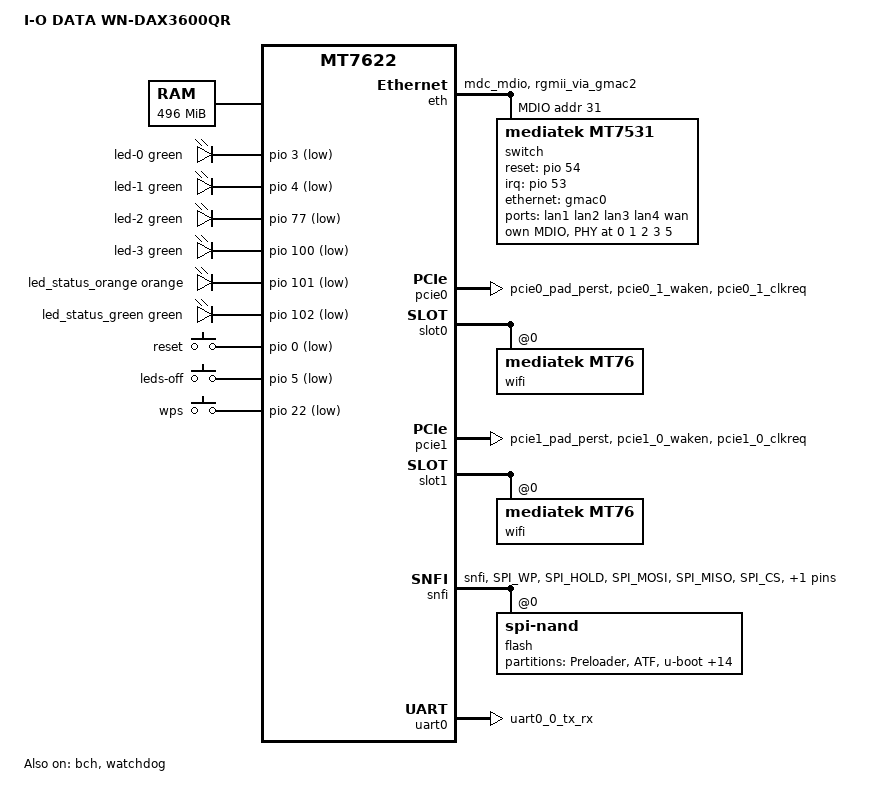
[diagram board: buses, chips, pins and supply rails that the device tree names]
// SPDX-License-Identifier: GPL-2.0-or-later OR MIT
/dts-v1/;

#include <dt-bindings/input/input.h>
#include <dt-bindings/gpio/gpio.h>
#include <dt-bindings/leds/common.h>
#include <dt-bindings/pinctrl/mt65xx.h>

#include "mt7622.dtsi"
#include "mt6380.dtsi"

/ {
	model = "I-O DATA WN-DAX3600QR";
	compatible = "iodata,wn-dax3600qr", "mediatek,mt7622";

	aliases {
		serial0 = &uart0;
		led-boot = &led_status_green;
		led-failsafe = &led_status_orange;
		led-upgrade = &led_status_green;
		label-mac-device = &wan;
	};

	chosen {
		bootargs-override = "earlycon swiotlb=512";
		stdout-path = "serial0:115200n8";
	};

	memory@40000000 {
		reg = <0 0x40000000 0 0x1f000000>;
		device_type = "memory";
	};

	leds {
		compatible = "gpio-leds";

		led-0 {
			gpios = <&pio 3 GPIO_ACTIVE_LOW>;
			color = <LED_COLOR_ID_GREEN>;
			function = LED_FUNCTION_POWER;
			default-state = "on";
		};

		led-1 {
			gpios = <&pio 4 GPIO_ACTIVE_LOW>;
			color = <LED_COLOR_ID_GREEN>;
			function = LED_FUNCTION_WLAN;
		};

		led-2 {
			gpios = <&pio 77 GPIO_ACTIVE_LOW>;
			color = <LED_COLOR_ID_GREEN>;
			function = LED_FUNCTION_WAN_ONLINE;
		};

		led-3 {
			gpios = <&pio 100 GPIO_ACTIVE_LOW>;
			color = <LED_COLOR_ID_GREEN>;
			function = LED_FUNCTION_INDICATOR;
		};

		led_status_orange: led-4 {
			gpios = <&pio 101 GPIO_ACTIVE_LOW>;
			color = <LED_COLOR_ID_ORANGE>;
			function = LED_FUNCTION_STATUS;
		};

		led_status_green: led-5 {
			gpios = <&pio 102 GPIO_ACTIVE_LOW>;
			color = <LED_COLOR_ID_GREEN>;
			function = LED_FUNCTION_STATUS;
		};
	};

	keys {
		compatible = "gpio-keys";

		button-reset {
			label = "reset";
			gpios = <&pio 0 GPIO_ACTIVE_LOW>;
			linux,code = <KEY_RESTART>;
		};

		button-leds-off {
			label = "leds-off";
			gpios = <&pio 5 GPIO_ACTIVE_LOW>;
			linux,code = <BTN_0>;
			linux,input-type = <EV_SW>;
		};

		button-wps {
			label = "wps";
			gpios = <&pio 22 GPIO_ACTIVE_LOW>;
			linux,code = <KEY_WPS_BUTTON>;
		};
	};
};

&cpu0 {
	proc-supply = <&mt6380_vcpu_reg>;
	sram-supply = <&mt6380_vm_reg>;
};

&cpu1 {
	proc-supply = <&mt6380_vcpu_reg>;
	sram-supply = <&mt6380_vm_reg>;
};

&eth {
	pinctrl-names = "default";
	pinctrl-0 = <&eth_pins>;
	status = "okay";

	gmac0: mac@0 {
		compatible = "mediatek,eth-mac";
		reg = <0>;

		phy-connection-type = "2500base-x";

		nvmem-cells = <&macaddr_factory_2a>;
		nvmem-cell-names = "mac-address";

		fixed-link {
			speed = <2500>;
			full-duplex;
			pause;
		};
	};

	mdio-bus {
		#address-cells = <1>;
		#size-cells = <0>;

		switch@1f {
			compatible = "mediatek,mt7531";
			reg = <31>;
			interrupt-controller;
			#interrupt-cells = <1>;
			interrupt-parent = <&pio>;
			interrupts = <53 IRQ_TYPE_LEVEL_HIGH>;
			reset-gpios = <&pio 54 GPIO_ACTIVE_HIGH>;

			ethernet-ports {
				#address-cells = <1>;
				#size-cells = <0>;

				port@0 {
					reg = <0>;
					label = "lan1";
					phy-handle = <&swphy0>;
				};

				port@1 {
					reg = <1>;
					label = "lan2";
					phy-handle = <&swphy1>;
				};

				port@2 {
					reg = <2>;
					label = "lan3";
					phy-handle = <&swphy2>;
				};

				port@3 {
					reg = <3>;
					label = "lan4";
					phy-handle = <&swphy3>;
				};

				wan: port@5 {
					reg = <5>;
					label = "wan";
					nvmem-cells = <&macaddr_factory_24>;
					nvmem-cell-names = "mac-address";
					phy-connection-type = "2500base-x";
					phy-handle = <&rtl8221b_phy>;
				};

				port@6 {
					reg = <6>;
					ethernet = <&gmac0>;
					phy-mode = "2500base-x";

					fixed-link {
						speed = <2500>;
						full-duplex;
						pause;
					};
				};
			};

			mdio {
				#address-cells = <1>;
				#size-cells = <0>;

				swphy0: ethernet-phy@0 {
					reg = <0>;
				};

				swphy1: ethernet-phy@1 {
					reg = <1>;
				};

				swphy2: ethernet-phy@2 {
					reg = <2>;
				};

				swphy3: ethernet-phy@3 {
					reg = <3>;
				};

				rtl8221b_phy: ethernet-phy@5 {
					compatible = "ethernet-phy-ieee802.3-c45";
					reg = <5>;
					reset-assert-us = <100000>;
					reset-deassert-us = <100000>;
				};
			};
		};
	};
};

&pcie0 {
	pinctrl-names = "default";
	pinctrl-0 = <&pcie0_pins>;
	status = "okay";
};

&slot0 {
	status = "okay";

	wifi@0,0 {
		compatible = "mediatek,mt76";
		reg = <0x0000 0 0 0 0>;
		ieee80211-freq-limit = <2400000 2500000>;
		nvmem-cells = <&eeprom_factory_0>;
		nvmem-cell-names = "eeprom";
	};
};

&pcie1 {
	pinctrl-0 = <&pcie1_pins>;
	pinctrl-names = "default";
	status = "okay";
};

&slot1 {
	status = "okay";

	wifi@0,0 {
		compatible = "mediatek,mt76";
		reg = <0x0000 0 0 0 0>;
		ieee80211-freq-limit = <5000000 6000000>;
		nvmem-cells = <&eeprom_factory_20000>;
		nvmem-cell-names = "eeprom";
	};
};

&pio {
	eth_pins: eth-pins {
		mux {
			function = "eth";
			groups = "mdc_mdio", "rgmii_via_gmac2";
		};
	};

	pcie0_pins: pcie0-pins {
		mux {
			function = "pcie";
			groups = "pcie0_pad_perst",
				 "pcie0_1_waken",
				 "pcie0_1_clkreq";
		};
	};

	pcie1_pins: pcie1-pins {
		mux {
			function = "pcie";
			groups = "pcie1_pad_perst",
				 "pcie1_0_waken",
				 "pcie1_0_clkreq";
		};
	};

	pmic_bus_pins: pmic-bus-pins {
		mux {
			function = "pmic";
			groups = "pmic_bus";
		};
	};

	/* Serial NAND is shared pin with SPI-NOR */
	serial_nand_pins: serial-nand-pins {
		mux {
			function = "flash";
			groups = "snfi";
		};

		conf-cmd-data {
			pins = "SPI_WP", "SPI_HOLD", "SPI_MOSI",
			       "SPI_MISO", "SPI_CS";
			drive-strength = <MTK_DRIVE_16mA>;
			bias-pull-up = <MTK_PUPD_SET_R1R0_01>;
		};

		conf-clk {
			pins = "SPI_CLK";
			drive-strength = <MTK_DRIVE_16mA>;
			bias-pull-down = <MTK_PUPD_SET_R1R0_10>;
		};
	};

	uart0_pins: uart0-pins {
		mux {
			function = "uart";
			groups = "uart0_0_tx_rx" ;
		};
	};

	watchdog_pins: watchdog-pins {
		mux {
			function = "watchdog";
			groups = "watchdog";
		};
	};
};

&pwrap {
	pinctrl-names = "default";
	pinctrl-0 = <&pmic_bus_pins>;
	status = "okay";
};

&rtc {
	status = "disabled";
};

&bch {
	status = "okay";
};

&snfi {
	pinctrl-names = "default";
	pinctrl-0 = <&serial_nand_pins>;
	status = "okay";

	flash@0 {
		compatible = "spi-nand";
		reg = <0>;
		spi-tx-bus-width = <4>;
		spi-rx-bus-width = <4>;
		nand-ecc-engine = <&snfi>;
		mediatek,bmt-v2;
		mediatek,bmt-table-size = <0x1000>;
		/*
		 * - Preloader - kernel(firmware1)
		 * - Config    - kernel(firmware2)
		 * - Config2   - reserved
		 */
		mediatek,bmt-remap-range = <0x0 0xa80000>,
					   <0x34c0000 0x3dc0000>,
					   <0x6800000 0x75c0000>;

		partitions {
			compatible = "fixed-partitions";
			#address-cells = <1>;
			#size-cells = <1>;

			partition@0 {
				label = "Preloader";
				reg = <0x0 0x80000>;
				read-only;
			};

			partition@80000 {
				label = "ATF";
				reg = <0x80000 0x40000>;
				read-only;
			};

			partition@c0000 {
				label = "u-boot";
				reg = <0xc0000 0x80000>;
				read-only;
			};

			partition@140000 {
				label = "u-boot-env";
				reg = <0x140000 0x80000>;
				read-only;
			};

			partition@1c0000 {
				label = "factory";
				reg = <0x1c0000 0xc0000>;
				read-only;

				nvmem-layout {
					compatible = "fixed-layout";
					#address-cells = <1>;
					#size-cells = <1>;

					eeprom_factory_0: eeprom@0 {
						reg = <0x0 0x5000>;
					};

					macaddr_factory_24: macaddr@24 {
						reg = <0x24 0x6>;
					};

					macaddr_factory_2a: macaddr@2a {
						reg = <0x2a 0x6>;
					};

					eeprom_factory_20000: eeprom@20000 {
						reg = <0x20000 0x5000>;
					};
				};
			};

			/* stock: "RAS1" */
			partition@280000 {
				compatible = "mstc,boot";
				label = "firmware1";
				reg = <0x280000 0x3240000>;
				mstc,bootnum = <1>;
				mstc,persist = <&mtd_persist>;
				#address-cells = <1>;
				#size-cells = <1>;

				partition@0 {
					label-base = "kernel";
					reg = <0x0 0x800000>;
				};

				partition@800000 {
					label-base = "ubi";
					reg = <0x800000 0x2a40000>;
				};
			};

			partition@34c000 {
				label = "Config";
				reg = <0x34c0000 0x100000>;
				read-only;
			};

			/* stock: "RAS2" */
			partition@35c0000 {
				compatible = "mstc,boot";
				label = "firmware2";
				reg = <0x35c0000 0x3240000>;
				mstc,bootnum = <2>;
				mstc,persist = <&mtd_persist>;
				#address-cells = <1>;
				#size-cells = <1>;

				partition@0 {
					label-base = "kernel";
					reg = <0x0 0x800000>;
				};

				partition@800000 {
					label-base = "ubi";
					reg = <0x800000 0x2a40000>;
				};
			};

			partition@6800000 {
				label = "Config2";
				reg = <0x6800000 0x100000>;
				read-only;
			};

			mtd_persist: partition@6900000 {
				label = "persist";
				reg = <0x6900000 0x100000>;
			};

			partition@6a00000 {
				label = "idmkey";
				reg = <0x6a00000 0x100000>;
				read-only;
			};

			partition@6b00000 {
				label = "mesh";
				reg = <0x6b00000 0x100000>;
				read-only;
			};

			partition@6c00000 {
				label = "Backup";
				reg = <0x6c00000 0x9c0000>;
				read-only;
			};
		};
	};
};

&uart0 {
	pinctrl-names = "default";
	pinctrl-0 = <&uart0_pins>;
	status = "okay";
};

&watchdog {
	pinctrl-names = "default";
	pinctrl-0 = <&watchdog_pins>;
	status = "okay";
};
